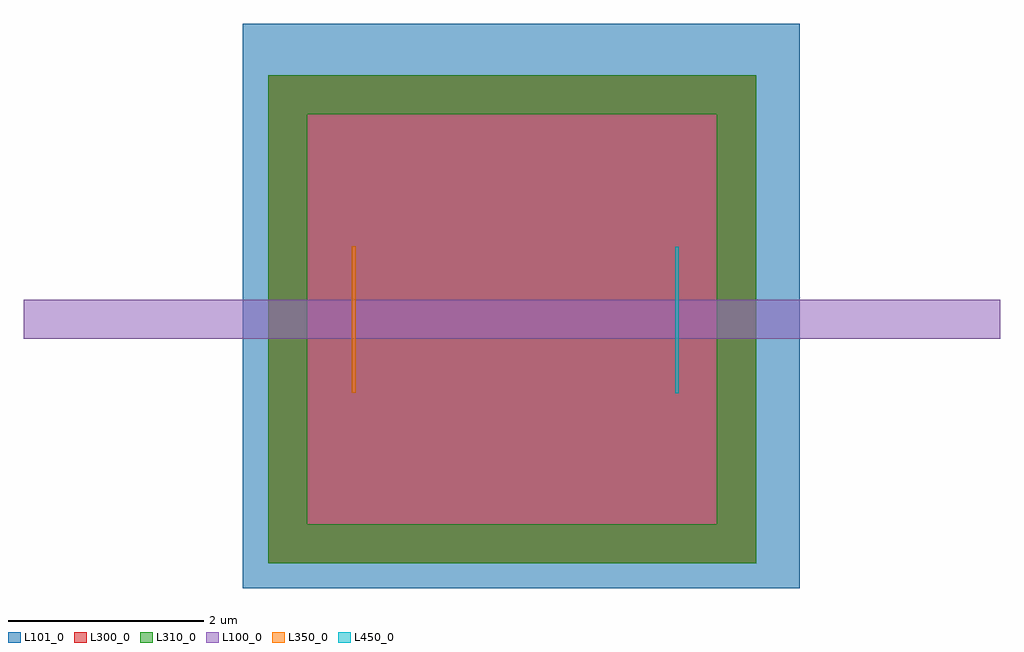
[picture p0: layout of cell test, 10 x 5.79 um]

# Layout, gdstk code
import gdstk
lib = gdstk.Library(unit=1e-6, precision=1e-09)
def R(c, l, rs):  # rectangles x0, y0, x1, y1
    for r in rs: c.add(gdstk.rectangle(r[:2], r[2:], *l))
L100_0 = (100, 0)
L101_0 = (101, 0)
L300_0 = (300, 0)
L310_0 = (310, 0)
L350_0 = (350, 0)
L450_0 = (450, 0)

test = lib.new_cell('test')
R(test, L100_0, [(-5,-0.2,5,0.2)])
R(test, L101_0, [(-2.76,-2.755,2.95,3.03)])
R(test, L300_0, [(-2.5,-2.5,2.5,2.5)])
R(test, L310_0, [(-2.5,-2.5,-2.1,2.5), (-2.5,-2.5,2.5,-2.1), (2.1,-2.5,2.5,2.5), (-2.5,2.1,2.5,2.5)])
R(test, L350_0, [(-1.64,-0.75,-1.6,0.75)])
R(test, L450_0, [(1.671,-0.757,1.711,0.743)])

lib.write_gds('test.gds')
